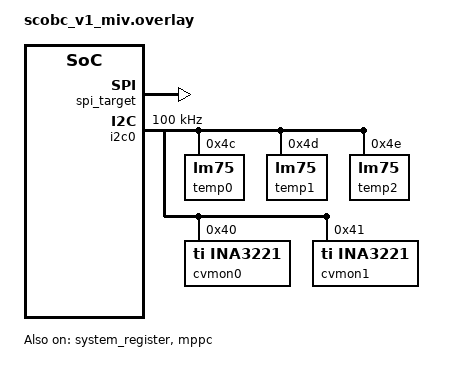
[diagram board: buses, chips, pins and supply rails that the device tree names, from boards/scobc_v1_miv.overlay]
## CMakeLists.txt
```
# Copyright (c) 2026 Space Cubics Inc.
# SPDX-License-Identifier: Apache-2.0

cmake_minimum_required(VERSION 3.20.0)

if(NOT DEFINED BOARD)
    set(BOARD scobc_v1/miv)
endif()

find_package(Zephyr REQUIRED HINTS $ENV{ZEPHYR_BASE})
project(scobc-v1-safety-processor)

add_subdirectory(drivers/i2c)

target_sources(app PRIVATE
    src/main.c
    src/system.c
    src/mppc.c
    src/sensor.c
    src/ipc.c
    )
```

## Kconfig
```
# Copyright (c) 2026 Space Cubics Inc.
# SPDX-License-Identifier: Apache-2.0

mainmenu "SC-OBC Safety Processor"

menu "SC-OBC Safety Processor Configuration"

menu "IPC(Inter-Processor Communication)"

choice SC_IPC_SPI_MODE
	prompt "SPI target mode"
	default SC_IPC_SPI_MODE_1
	help
	  Select the SPI mode used by the SC-SPI-TARGET IP.

config SC_IPC_SPI_MODE_1
	bool "Mode 1 (CPOL=0, CPHA=1)"

config SC_IPC_SPI_MODE_3
	bool "Mode 3 (CPOL=1, CPHA=1)"

endchoice

module = SC_IPC
module-str = SC IPC
source "subsys/logging/Kconfig.template.log_config"

endmenu

menu "MPPC(Main Processor Power Controller)"

module = SC_MPPC
module-str = SC MPPC
source "subsys/logging/Kconfig.template.log_config"

endmenu

endmenu

menu "Out-of-tree Drivers"
rsource "drivers/i2c/Kconfig"
endmenu

menu "Zephyr"
source "Kconfig.zephyr"
endmenu
```

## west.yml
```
manifest:

  remotes:
    - name: sc
      url-base: https://github.com/spacecubics

  projects:
    - name: zephyr
      remote: sc
      revision: v4.4-sc
      west-commands: scripts/west-commands.yml

  self:
    path: scobc-sp
```

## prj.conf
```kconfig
CONFIG_I2C=y
CONFIG_SENSOR=y
CONFIG_PICOLIBC=y
CONFIG_PICOLIBC_IO_FLOAT=y
CONFIG_LOG=y
CONFIG_BUILD_OUTPUT_HEX=y
```

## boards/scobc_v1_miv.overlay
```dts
/*
 * Copyright (c) 2026 Space Cubics Inc.
 *
 * SPDX-License-Identifier: Apache-2.0
 */

#include <zephyr/dt-bindings/i2c/i2c.h>

/ {
	soc {
		system_register: system-register@80000000 {
			compatible = "sc,system";
			reg = <0x80000000 0x1000>;
			status = "okay";
		};

		mppc: mppc@81001000 {
			compatible = "sc,mppc";
			interrupt-parent = <&plic>;
			interrupts = <2 1>;
			reg = <0x81001000 0x1000>;
			status = "okay";
		};

		spi_target: spi-target@81000000 {
			compatible = "sc,spi-target";
			interrupt-parent = <&plic>;
			interrupts = <16 1>;
			reg = <0x81000000 0x1000>;
			status = "okay";
		};

		i2c0: i2c@82000000 {
			compatible = "sc,i2c";
			interrupt-parent = <&plic>;
			interrupts = <20 1>;
			reg = <0x82000000 0x10000>;
			#address-cells = <1>;
			#size-cells = <0>;
			clock-frequency = <I2C_BITRATE_STANDARD>;
			status = "okay";

			temp0: tmp175@4c {
				compatible = "lm75";
				reg = <0x4c>;
				status = "okay";
			};

			temp1: tmp175@4d {
				compatible = "lm75";
				reg = <0x4d>;
				status = "okay";
			};

			temp2: tmp175@4e {
				compatible = "lm75";
				reg = <0x4e>;
				status = "okay";
			};

			cvmon0: ina3221@40 {
				compatible = "ti,ina3221";
				reg = <0x40>;

				/* CH1: 5V0_SYS, CH2: 5V0_VER_PS, CH3: 5V0_VER_PL */
				enable-channel = <1 1 1>;
				shunt-resistors = <33 33 10>;

				status = "okay";
			};

			cvmon1: ina3221@41 {
				compatible = "ti,ina3221";
				reg = <0x41>;

				/* CH1: 3V3_EXT, CH2: 3V3_VER, CH3: unused */
				enable-channel = <1 1 0>;
				shunt-resistors = <33 33 33>;

				status = "okay";
			};
		};
	};
};
```

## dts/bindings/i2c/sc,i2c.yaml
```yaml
# Copyright (c) 2026 Space Cubics Inc.
# SPDX-License-Identifier: Apache-2.0

description: Space Cubics I2C Master controller

compatible: "sc,i2c"

include: [i2c-controller.yaml]

properties:
  reg:
    required: true

  interrupts:
    required: true
```

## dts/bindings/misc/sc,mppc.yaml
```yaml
# Copyright (c) 2026 Space Cubics Inc.
# SPDX-License-Identifier: Apache-2.0

description: Space Cubics SC-OBC Main Processor Power Controller Register

compatible: "sc,mppc"

include: base.yaml

properties:
  reg:
    required: true

  interrupts:
    required: true
```

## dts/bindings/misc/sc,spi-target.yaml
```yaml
# Copyright (c) 2026 Space Cubics Inc.
# SPDX-License-Identifier: Apache-2.0

description: Space Cubics SC-SPI-TARGET register block

compatible: "sc,spi-target"

include: base.yaml

properties:
  reg:
    required: true

  interrupts:
    required: true
```

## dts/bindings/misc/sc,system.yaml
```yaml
# Copyright (c) 2026 Space Cubics Inc.
# SPDX-License-Identifier: Apache-2.0

description: Space Cubics SC-OBC System Register

compatible: "sc,system"

include: base.yaml

properties:
  reg:
    required: true
```

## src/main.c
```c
/*
 * Copyright (c) 2026 Space Cubics Inc.
 *
 * SPDX-License-Identifier: Apache-2.0
 */

#include <stdint.h>
#include <zephyr/sys/printk.h>

#include "system.h"
#include "mppc.h"
#include "version.h"

static void print_system_info(void)
{
	char ip_version[32];
	char grade[32];
	char revision[16];

	sc_system_get_board_grade(grade, sizeof(grade));
	sc_system_get_board_revision(revision, sizeof(revision));
	sc_system_get_ip_version(ip_version, sizeof(ip_version));

	printk("SC-OBC Safety Processor Firmware " SCOBC_SP_FW_VERSION "\n");
	printk("Board: %s %s\n", grade, revision);
	printk("IP version: %s\n", ip_version);
}

int main(void)
{
	print_system_info();

	sc_mppc_main_power_on();

	return 0;
}
```

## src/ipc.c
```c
/*
 * Copyright (c) 2026 Space Cubics Inc.
 *
 * SPDX-License-Identifier: Apache-2.0
 */

#include "ipc.h"

#include <errno.h>
#include <stdbool.h>
#include <stdint.h>
#include <string.h>

#include <zephyr/devicetree.h>
#include <zephyr/init.h>
#include <zephyr/irq.h>
#include <zephyr/kernel.h>
#include <zephyr/logging/log.h>
#include <zephyr/sys/atomic.h>
#include <zephyr/sys/sys_io.h>
#include <zephyr/sys/util.h>

#include "mppc.h"
#include "sensor.h"
#include "system.h"

LOG_MODULE_REGISTER(ipc, CONFIG_SC_IPC_LOG_LEVEL);

#define SC_IPC_NODE DT_NODELABEL(spi_target)
BUILD_ASSERT(DT_NODE_HAS_STATUS(SC_IPC_NODE, okay),
	     "spi_target node must be enabled in devicetree");
BUILD_ASSERT(DT_IRQ_HAS_CELL(SC_IPC_NODE, irq),
	     "spi_target interrupt must have irq cell");
BUILD_ASSERT(DT_IRQ_HAS_CELL(SC_IPC_NODE, priority),
	     "spi_target interrupt must have priority cell");

#define SC_IPC_API_VERSION	1U

#define SC_SPI_REG_BASE		DT_REG_ADDR(SC_IPC_NODE)
#define SC_SPI_IRQ		DT_IRQN(SC_IPC_NODE)
#define SC_SPI_IRQ_PRIORITY	DT_IRQ(SC_IPC_NODE, priority)
#define SC_SPI_IRQ_FLAGS	0

/* SC-SPI-TARGET Register List offsets. */
#define SC_SPI_REG_IP_VERSION		0x000UL
#define SC_SPI_REG_IP_CONFIGURATION	0x004UL
#define SC_SPI_REG_IP_RESET		0x010UL
#define SC_SPI_REG_INTERRUPT_STATUS	0x020UL
#define SC_SPI_REG_INTERRUPT_ENABLE	0x024UL
#define SC_SPI_REG_CONTROL		0x030UL
#define SC_SPI_REG_BUFFER_THRESHOLD	0x034UL
#define SC_SPI_REG_BUFFER_CONTROL	0x038UL
#define SC_SPI_REG_BUFFER_STATUS	0x03cUL
#define SC_SPI_REG_TX_BUFFER(n)		(0x100UL + (0x4UL * (uint32_t)(n)))
#define SC_SPI_REG_RX_BUFFER(n)		(0x200UL + (0x4UL * (uint32_t)(n)))

#define SC_SPI_INTERRUPT_FRAME_COMPLETE		BIT(0)
#define SC_SPI_INTERRUPT_FRAME_THRESHOLD	BIT(1)
#define SC_SPI_INTERRUPT_BUFFER_OVERRUN		BIT(16)
#define SC_SPI_INTERRUPT_INVALID_FRAME		BIT(17)
#define SC_SPI_INTERRUPT_USED			(SC_SPI_INTERRUPT_FRAME_COMPLETE | \
						 SC_SPI_INTERRUPT_FRAME_THRESHOLD | \
						 SC_SPI_INTERRUPT_BUFFER_OVERRUN | \
						 SC_SPI_INTERRUPT_INVALID_FRAME)

#define SC_SPI_CONTROL_IP_ENABLE		BIT(0)
#define SC_SPI_CONTROL_CPHA			BIT(8)
#define SC_SPI_CONTROL_CPOL			BIT(9)
#define SC_SPI_BUFFER_CONTROL_CPU_BUFFER_CHANGE	BIT(0)
#define SC_SPI_IP_CONFIG_MAX_FRAME_SIZE_MASK	0x3fUL
#define SC_SPI_BUFFER_STATUS_FRAME_SIZE_MASK	0x3fUL
#define SC_SPI_BUFFER_STATUS_CS_MASK		GENMASK(11, 8)
#define SC_SPI_BUFFER_STATUS_CS_SHIFT		8U

#define SC_IPC_READ_LATENCY_BYTES	2U
#define SC_IPC_INIT_PRIORITY		80


struct sc_ipc_context {
	uint8_t max_frame_size;
	uint8_t last_read_seq;
	uint16_t last_read_cmd;
	uint8_t last_read_response_len;
	uint8_t last_read_response[SC_IPC_RESPONSE_SEQ_SIZE +
				       SC_IPC_MAX_DATA_SIZE +
				       SC_IPC_DATA_CRC_SIZE];
	bool last_read_response_valid;
	bool initialized;
};

struct sc_ipc_cached_response {
	uint16_t cmd;
	uint8_t len;
	int ret;
	uint8_t payload[SC_IPC_MAX_DATA_SIZE + SC_IPC_DATA_CRC_SIZE];
};

static struct sc_ipc_context sc_ipc_ctx;

static const uint16_t sc_ipc_supported_read_commands[] = {
	SC_IPC_CMD_READ_API_VERSION,
	SC_IPC_CMD_GET_TEMP_AVERAGE,
	SC_IPC_CMD_GET_CURRENT_TOTAL,
	SC_IPC_CMD_GET_CURRENT_SYS,
	SC_IPC_CMD_GET_CURRENT_PS,
	SC_IPC_CMD_GET_CURRENT_PL,
	SC_IPC_CMD_GET_BOOT_MEMORY_SELECT,
};

static struct sc_ipc_cached_response
	sc_ipc_response_cache[2][ARRAY_SIZE(sc_ipc_supported_read_commands)];
static atomic_t sc_ipc_response_cache_active;

static void sc_spi_write(uint32_t reg, uint32_t val)
{
	sys_write32(val, SC_SPI_REG_BASE + reg);
}

static uint32_t sc_spi_read(uint32_t reg)
{
	return sys_read32(SC_SPI_REG_BASE + reg);
}

static uint8_t sc_spi_read_rx_byte(uint8_t index)
{
	return (uint8_t)(sc_spi_read(SC_SPI_REG_RX_BUFFER(index)) & 0xffU);
}

static void sc_spi_write_tx_byte(uint8_t index, uint8_t val)
{
	sc_spi_write(SC_SPI_REG_TX_BUFFER(index), val);
}

static uint8_t sc_spi_buffer_status_frame_size(uint32_t status)
{
	return (uint8_t)(status & SC_SPI_BUFFER_STATUS_FRAME_SIZE_MASK);
}

static uint8_t sc_spi_buffer_status_cs(uint32_t status)
{
	return (uint8_t)((status & SC_SPI_BUFFER_STATUS_CS_MASK) >>
			       SC_SPI_BUFFER_STATUS_CS_SHIFT);
}

static uint8_t crc8_sae_j1850(const uint8_t *buf, size_t len)
{
	uint8_t crc = 0xffU;
	size_t i;
	int bit;

	for (i = 0; i < len; i++) {
		crc ^= buf[i];
		for (bit = 0; bit < 8; bit++) {
			if ((crc & 0x80U) != 0U) {
				crc = (uint8_t)((crc << 1) ^ 0x1dU);
			} else {
				crc = (uint8_t)(crc << 1);
			}
		}
	}

	/* The current command spec defines poly/init, but not xorout.
	 * Use xorout=0x00 until a test vector says otherwise.
	 */
	return crc;
}

static uint16_t crc16_ccitt_false(const uint8_t *buf, size_t len)
{
	uint16_t crc = 0xffffU;
	size_t i;
	int bit;

	for (i = 0; i < len; i++) {
		crc ^= (uint16_t)buf[i] << 8;
		for (bit = 0; bit < 8; bit++) {
			if ((crc & 0x8000U) != 0U) {
				crc = (uint16_t)((crc << 1) ^ 0x1021U);
			} else {
				crc = (uint16_t)(crc << 1);
			}
		}
	}

	return crc;
}

static void put_be16(uint8_t *buf, uint16_t val)
{
	buf[0] = (uint8_t)(val >> 8);
	buf[1] = (uint8_t)val;
}

static void put_be32(uint8_t *buf, uint32_t val)
{
	buf[0] = (uint8_t)(val >> 24);
	buf[1] = (uint8_t)(val >> 16);
	buf[2] = (uint8_t)(val >> 8);
	buf[3] = (uint8_t)val;
}

static uint16_t get_be16(const uint8_t *buf)
{
	return ((uint16_t)buf[0] << 8) | (uint16_t)buf[1];
}

static int64_t div_round_closest_i64(int64_t dividend, int64_t divisor)
{
	if (dividend >= 0) {
		return (dividend + divisor / 2) / divisor;
	}

	return (dividend - divisor / 2) / divisor;
}

static uint16_t encode_temperature_micro_q025c(int64_t micro_degc)
{
	int64_t quarter_degc;

	quarter_degc = div_round_closest_i64(micro_degc, 250000LL);
	if (quarter_degc > INT16_MAX) {
		quarter_degc = INT16_MAX;
	} else if (quarter_degc < INT16_MIN) {
		quarter_degc = INT16_MIN;
	}

	return (uint16_t)(int16_t)quarter_degc;
}

static uint16_t encode_current_ma(const struct sensor_value *current)
{
	int64_t milliamp;

	milliamp = div_round_closest_i64(sensor_value_to_micro(current), 1000LL);
	if (milliamp > UINT16_MAX) {
		milliamp = UINT16_MAX;
	} else if (milliamp < 0) {
		milliamp = 0;
	}

	return (uint16_t)milliamp;
}

static int read_temperature(size_t index, uint16_t *val)
{
	struct sc_lm75_sensor_data sensor;
	int ret;

	ret = sc_lm75_get_sensor(index, &sensor);
	if (ret < 0 || sensor.ret < 0) {
		return ret < 0 ? ret : sensor.ret;
	}

	*val = encode_temperature_micro_q025c(sensor_value_to_micro(&sensor.temp));

	return 0;
}

static int read_cvmon_current_ma(size_t channel, uint16_t *val)
{
	struct sc_ina3221_sensor_data sensor;
	int ret;

	ret = sc_ina3221_get_sensor(0, &sensor);
	if (ret < 0 || sensor.ret < 0) {
		return ret < 0 ? ret : sensor.ret;
	}

	if (channel >= ARRAY_SIZE(sensor.channel) || !sensor.channel[channel].enabled) {
		return -ENOENT;
	}

	if (sensor.channel[channel].ret < 0) {
		return sensor.channel[channel].ret;
	}

	*val = encode_current_ma(&sensor.channel[channel].current);

	return 0;
}

static int read_current_total_ma(uint16_t *val)
{
	uint32_t sum = 0;
	uint16_t current;
	size_t valid_count = 0;
	size_t ch;
	int ret;

	for (ch = 0; ch < 3; ch++) {
		ret = read_cvmon_current_ma(ch, &current);
		if (ret < 0) {
			continue;
		}
		sum += current;
		valid_count++;
	}

	if (valid_count == 0) {
		return -EAGAIN;
	}

	if (sum > UINT16_MAX) {
		sum = UINT16_MAX;
	}

	*val = (uint16_t)sum;

	return 0;
}

static int build_read_response_data(uint16_t cmd, uint8_t *data, size_t *len)
{
	uint16_t v16;
	int ret = 0;

	switch (cmd) {
	case SC_IPC_CMD_READ_API_VERSION:
		put_be32(data, SC_IPC_API_VERSION);
		break;

	case SC_IPC_CMD_GET_TEMP_AVERAGE:
		/*
		 * Use Temperature Sensor 3 as the average temperature
		 * in the current release.
		 * This may be changed to some calculated value in the future.
		 */
		ret = read_temperature(2, &v16);
		if (ret == 0) {
			put_be16(data, v16);
		}
		break;

	case SC_IPC_CMD_GET_CURRENT_TOTAL:
		ret = read_current_total_ma(&v16);
		if (ret == 0) {
			put_be16(data, v16);
		}
		break;

	case SC_IPC_CMD_GET_CURRENT_SYS:
		ret = read_cvmon_current_ma(0, &v16);
		if (ret == 0) {
			put_be16(data, v16);
		}
		break;

	case SC_IPC_CMD_GET_CURRENT_PS:
		ret = read_cvmon_current_ma(1, &v16);
		if (ret == 0) {
			put_be16(data, v16);
		}
		break;

	case SC_IPC_CMD_GET_CURRENT_PL:
		ret = read_cvmon_current_ma(2, &v16);
		if (ret == 0) {
			put_be16(data, v16);
		}
		break;

	case SC_IPC_CMD_GET_BOOT_MEMORY_SELECT:
		v16 = (uint16_t)sc_system_get_boot_memory_port();
		put_be16(data, v16);
		break;

	default:
		return -ENOTSUP;
	}

	*len = sc_ipc_cmd_data_size(cmd);

	return ret;
}

static void build_error_read_response_payload(uint16_t cmd, uint8_t *payload,
					      uint8_t *payload_len)
{
	uint8_t data[SC_IPC_MAX_DATA_SIZE];
	size_t len;
	int cmd_len;
	uint16_t crc;

	cmd_len = sc_ipc_cmd_data_size(cmd);
	if (cmd_len < 0 || cmd_len > SC_IPC_MAX_DATA_SIZE) {
		len = 2;
	} else {
		len = (size_t)cmd_len;
	}

	memset(data, 0xff, len);
	memcpy(payload, data, len);

	crc = crc16_ccitt_false(data, len);
	payload[len] = (uint8_t)(crc >> 8);
	payload[len + 1U] = (uint8_t)crc;
	*payload_len = (uint8_t)(len + SC_IPC_DATA_CRC_SIZE);
}

static int build_read_response_payload(uint16_t cmd, uint8_t *payload,
				       uint8_t *payload_len)
{
	uint8_t data[SC_IPC_MAX_DATA_SIZE] = {0};
	size_t len = 0;
	uint16_t crc;
	int ret;

	ret = build_read_response_data(cmd, data, &len);
	if (ret < 0 || len > SC_IPC_MAX_DATA_SIZE) {
		build_error_read_response_payload(cmd, payload, payload_len);
		return ret < 0 ? ret : -EIO;
	}

	memcpy(payload, data, len);
	crc = crc16_ccitt_false(data, len);
	payload[len] = (uint8_t)(crc >> 8);
	payload[len + 1U] = (uint8_t)crc;
	*payload_len = (uint8_t)(len + SC_IPC_DATA_CRC_SIZE);

	return 0;
}

static int write_read_response_payload(const uint8_t *payload, uint8_t payload_len)
{
	uint8_t off = (uint8_t)(SC_IPC_COMMAND_FIELD_SIZE +
				 SC_IPC_READ_LATENCY_BYTES);
	uint16_t end = (uint16_t)off + payload_len;
	int i;

	if (end > sc_ipc_ctx.max_frame_size) {
		LOG_DBG("read response does not fit: off=%u payload_len=%u max_frame=%u",
			off, payload_len, sc_ipc_ctx.max_frame_size);
		return -EMSGSIZE;
	}

	for (i = 0; i < payload_len; i++) {
		sc_spi_write_tx_byte((uint8_t)(off + i), payload[i]);
	}

	return 0;
}

static int compose_and_write_read_response(uint8_t seq, uint16_t cmd,
					   const uint8_t *payload,
					   uint8_t payload_len)
{
	uint8_t response[SC_IPC_RESPONSE_SEQ_SIZE + SC_IPC_MAX_DATA_SIZE +
			 SC_IPC_DATA_CRC_SIZE];
	uint8_t response_len;
	int ret;

	if (payload_len > (sizeof(response) - SC_IPC_RESPONSE_SEQ_SIZE)) {
		return -EMSGSIZE;
	}

	response[0] = seq;
	memcpy(&response[SC_IPC_RESPONSE_SEQ_SIZE], payload, payload_len);
	response_len = (uint8_t)(SC_IPC_RESPONSE_SEQ_SIZE + payload_len);

	ret = write_read_response_payload(response, response_len);
	if (ret < 0) {
		return ret;
	}

	sc_ipc_ctx.last_read_seq = seq;
	sc_ipc_ctx.last_read_cmd = cmd;
	sc_ipc_ctx.last_read_response_len = response_len;
	memcpy(sc_ipc_ctx.last_read_response, response, response_len);
	sc_ipc_ctx.last_read_response_valid = true;

	return 0;
}

static const struct sc_ipc_cached_response *find_cached_response(uint16_t cmd)
{
	const struct sc_ipc_cached_response *cache;
	size_t i;

	cache = sc_ipc_response_cache[atomic_get(&sc_ipc_response_cache_active)];
	for (i = 0; i < ARRAY_SIZE(sc_ipc_supported_read_commands); i++) {
		if (cache[i].cmd == cmd) {
			return &cache[i];
		}
	}

	return NULL;
}

static void update_response_cache_once(void)
{
	struct sc_ipc_cached_response *cache;
	uint8_t inactive;
	size_t i;

	inactive = (uint8_t)(atomic_get(&sc_ipc_response_cache_active) ^ 1);
	cache = sc_ipc_response_cache[inactive];

	for (i = 0; i < ARRAY_SIZE(sc_ipc_supported_read_commands); i++) {
		cache[i].cmd = sc_ipc_supported_read_commands[i];
		cache[i].ret = build_read_response_payload(cache[i].cmd,
							cache[i].payload,
							&cache[i].len);
	}

	atomic_set(&sc_ipc_response_cache_active, inactive);
}

void sc_ipc_update_response_cache(void)
{
	update_response_cache_once();
}

static void update_boot_memory_response_cache(void)
{
	struct sc_ipc_cached_response *cache;
	size_t bank;
	size_t i;

	for (bank = 0; bank < ARRAY_SIZE(sc_ipc_response_cache); bank++) {
		cache = sc_ipc_response_cache[bank];

		for (i = 0; i < ARRAY_SIZE(sc_ipc_supported_read_commands); i++) {
			if (cache[i].cmd != SC_IPC_CMD_GET_BOOT_MEMORY_SELECT) {
				continue;
			}

			cache[i].ret = build_read_response_payload(cache[i].cmd,
								cache[i].payload,
								&cache[i].len);
		}
	}
}

static bool parse_command_header(uint8_t header[SC_IPC_COMMAND_FIELD_SIZE],
				 uint8_t *seq, uint16_t *cmd)
{
	uint8_t expected_crc;
	uint8_t i;

	for (i = 0; i < SC_IPC_COMMAND_FIELD_SIZE; i++) {
		header[i] = sc_spi_read_rx_byte(i);
	}

	expected_crc = crc8_sae_j1850(header, SC_IPC_COMMAND_CRC_INPUT_SIZE);
	if (expected_crc != sc_ipc_header_crc(header)) {
		LOG_DBG("bad command CRC: seq=0x%02x cmd=0x%04x got=0x%02x exp=0x%02x",
			sc_ipc_header_seq(header), sc_ipc_header_cmd(header),
			sc_ipc_header_crc(header), expected_crc);
		return false;
	}

	*seq = sc_ipc_header_seq(header);
	*cmd = sc_ipc_header_cmd(header);

	return true;
}

static void prepare_read_response(uint8_t seq, uint16_t cmd)
{
	const struct sc_ipc_cached_response *cached;
	uint8_t payload[SC_IPC_MAX_DATA_SIZE + SC_IPC_DATA_CRC_SIZE];
	uint8_t payload_len;
	int ret;

	/*
	 * Treat the same seq/cmd pair as a retransmission.  Re-send the exact
	 * previous response and do not refresh its contents.  Checking cmd as well
	 * avoids replaying a stale response after the requester has rebooted and
	 * restarted its sequence number from 1.
	 */
	if (sc_ipc_ctx.last_read_response_valid &&
	    seq == sc_ipc_ctx.last_read_seq &&
	    cmd == sc_ipc_ctx.last_read_cmd) {
		ret = write_read_response_payload(sc_ipc_ctx.last_read_response,
						  sc_ipc_ctx.last_read_response_len);
		if (ret < 0) {
			LOG_DBG("failed to re-send read response: cmd=0x%04x ret=%d",
				cmd, ret);
		}
		return;
	}

	cached = find_cached_response(cmd);
	if (cached == NULL) {
		build_error_read_response_payload(cmd, payload, &payload_len);
		ret = compose_and_write_read_response(seq, cmd, payload, payload_len);
		if (ret < 0) {
			LOG_DBG("failed to send unsupported command response: cmd=0x%04x ret=%d",
				cmd, ret);
		}
		return;
	}

	ret = compose_and_write_read_response(seq, cmd, cached->payload, cached->len);
	if (ret < 0) {
		LOG_DBG("failed to send read response: cmd=0x%04x ret=%d", cmd, ret);
		return;
	}

	if (cached->ret < 0) {
		LOG_DBG("read response uses error payload: cmd=0x%04x ret=%d",
			cmd, cached->ret);
	}
}

static void handle_frame_threshold(void)
{
	uint32_t status;
	uint8_t header[SC_IPC_COMMAND_FIELD_SIZE];
	uint8_t seq;
	uint16_t cmd;

	status = sc_spi_read(SC_SPI_REG_BUFFER_STATUS);

	LOG_DBG("frame threshold: cs=%u frame_size=%u buf_status=0x%08x",
		sc_spi_buffer_status_cs(status),
		sc_spi_buffer_status_frame_size(status), status);

	if (!parse_command_header(header, &seq, &cmd)) {
		return;
	}

	if (sc_ipc_cmd_is_write(cmd)) {
		/* Write commands need the whole frame, including data CRC. */
		return;
	}

	if (!sc_ipc_cmd_is_read(cmd)) {
		return;
	}

	prepare_read_response(seq, cmd);
}

static void handle_set_boot_memory_select(const uint8_t *data)
{
	uint16_t port = get_be16(data);
	int ret;

	ret = sc_system_set_boot_memory_port(port);
	if (ret < 0) {
		return;
	}

	update_boot_memory_response_cache();
}

static void handle_write_frame(uint16_t cmd, uint8_t frame_size)
{
	uint8_t data[SC_IPC_MAX_DATA_SIZE] = {0};
	uint16_t got_crc;
	uint16_t expected_crc;
	int data_size;
	uint8_t i;

	data_size = sc_ipc_cmd_data_size(cmd);
	if (data_size < 0 || data_size > SC_IPC_MAX_DATA_SIZE) {
		return;
	}

	if (frame_size < (SC_IPC_COMMAND_FIELD_SIZE + data_size +
			 SC_IPC_DATA_CRC_SIZE)) {
		return;
	}

	for (i = 0; i < data_size; i++) {
		data[i] = sc_spi_read_rx_byte((uint8_t)(SC_IPC_COMMAND_FIELD_SIZE + i));
	}

	got_crc = ((uint16_t)sc_spi_read_rx_byte((uint8_t)(SC_IPC_COMMAND_FIELD_SIZE + data_size)) << 8) |
		  sc_spi_read_rx_byte((uint8_t)(SC_IPC_COMMAND_FIELD_SIZE + data_size + 1));
	expected_crc = crc16_ccitt_false(data, (size_t)data_size);
	if (got_crc != expected_crc) {
		LOG_DBG("bad data CRC: cmd=0x%04x got=0x%04x exp=0x%04x",
			cmd, got_crc, expected_crc);
		return;
	}

	switch (cmd) {
	case SC_IPC_CMD_SET_BOOT_MEMORY_SELECT:
		handle_set_boot_memory_select(data);
		break;
	default:
		break;
	}
}

static void handle_frame_complete(void)
{
	uint32_t status;
	uint8_t frame_size;
	uint8_t header[SC_IPC_COMMAND_FIELD_SIZE];
	uint8_t seq;
	uint16_t cmd;

	status = sc_spi_read(SC_SPI_REG_BUFFER_STATUS);
	frame_size = sc_spi_buffer_status_frame_size(status);

	LOG_DBG("frame complete: cs=%u frame_size=%u buf_status=0x%08x",
		sc_spi_buffer_status_cs(status), frame_size, status);

	if (frame_size >= SC_IPC_COMMAND_FIELD_SIZE &&
	    parse_command_header(header, &seq, &cmd) && sc_ipc_cmd_is_write(cmd)) {
		handle_write_frame(cmd, frame_size);
	}

	/*
	 * CSn negation makes the SPI side switch to the next buffer automatically.
	 * Keep the CPU side on the completed buffer while handling the frame, then
	 * toggle it once so the next threshold interrupt sees the active SPI buffer.
	 * TX buffer clearing is left to the SC-SPI-TARGET IP.
	 */
	sc_spi_write(SC_SPI_REG_BUFFER_CONTROL,
		     SC_SPI_BUFFER_CONTROL_CPU_BUFFER_CHANGE);
}

static void sc_ipc_irq_handler(const void *arg)
{
	uint32_t status;
	uint32_t handled;

	ARG_UNUSED(arg);

	status = sc_spi_read(SC_SPI_REG_INTERRUPT_STATUS);
	handled = status & SC_SPI_INTERRUPT_USED;

	if (handled == 0U) {
		return;
	}

	LOG_DBG("irq status=0x%08x handled=0x%08x", status, handled);

	/*
	 * W/C register: clear the latched status bits from this snapshot before
	 * processing. This avoids clearing a new event that arrives while this
	 * handler is running.
	 */
	sc_spi_write(SC_SPI_REG_INTERRUPT_STATUS, handled);

	if ((status & SC_SPI_INTERRUPT_INVALID_FRAME) != 0U) {
		LOG_DBG("invalid frame interrupt");
	}

	if ((status & SC_SPI_INTERRUPT_BUFFER_OVERRUN) != 0U) {
		LOG_DBG("buffer overrun interrupt");
	}

	if ((status & SC_SPI_INTERRUPT_FRAME_THRESHOLD) != 0U) {
		handle_frame_threshold();
	}

	if ((status & SC_SPI_INTERRUPT_FRAME_COMPLETE) != 0U) {
		handle_frame_complete();
	}
}

static int sc_ipc_init(void)
{
	uint32_t ip_config;
	uint32_t max_frame_size;
	uint32_t min_read_frame_size;
	uint32_t control = 0;

	if (sc_ipc_ctx.initialized) {
		return 0;
	}

	/* Reset value is asserted, so always release software reset explicitly. */
	sc_spi_write(SC_SPI_REG_IP_RESET, 0);
	k_busy_wait(1);

	ip_config = sc_spi_read(SC_SPI_REG_IP_CONFIGURATION);
	max_frame_size = ip_config & SC_SPI_IP_CONFIG_MAX_FRAME_SIZE_MASK;
	if (max_frame_size == 0U) {
		LOG_ERR("SC-SPI-TARGET reports an invalid max frame size: config=0x%08x",
			ip_config);
		return -EINVAL;
	}
	sc_ipc_ctx.max_frame_size = (uint8_t)max_frame_size;

	min_read_frame_size = SC_IPC_COMMAND_FIELD_SIZE +
		SC_IPC_READ_LATENCY_BYTES +
		SC_IPC_RESPONSE_SEQ_SIZE + 2U +
		SC_IPC_DATA_CRC_SIZE;
	if (min_read_frame_size > sc_ipc_ctx.max_frame_size) {
		LOG_ERR("IPC minimum read frame is %u bytes, but target max frame size is %u",
			min_read_frame_size, sc_ipc_ctx.max_frame_size);
		return -EMSGSIZE;
	}

	/* Populate the response cache before the first SPI transaction. */
	update_response_cache_once();

	/* Protected Immediate Read needs an interrupt once Seq/CMD/CRC is present. */
	sc_spi_write(SC_SPI_REG_BUFFER_THRESHOLD, SC_IPC_COMMAND_FIELD_SIZE);
	sc_spi_write(SC_SPI_REG_INTERRUPT_STATUS, SC_SPI_INTERRUPT_USED);
	sc_spi_write(SC_SPI_REG_INTERRUPT_ENABLE, SC_SPI_INTERRUPT_USED);

#if defined(CONFIG_SC_IPC_SPI_MODE_1)
	control |= SC_SPI_CONTROL_CPHA;
#elif defined(CONFIG_SC_IPC_SPI_MODE_3)
	control |= SC_SPI_CONTROL_CPOL | SC_SPI_CONTROL_CPHA;
#else
#error "Unsupported SC IPC SPI mode"
#endif

	control |= SC_SPI_CONTROL_IP_ENABLE;
	sc_spi_write(SC_SPI_REG_CONTROL, control);

	IRQ_CONNECT(SC_SPI_IRQ, SC_SPI_IRQ_PRIORITY, sc_ipc_irq_handler,
		    NULL, SC_SPI_IRQ_FLAGS);
	irq_enable(SC_SPI_IRQ);

	sc_ipc_ctx.initialized = true;

	LOG_DBG("IPC initialized: base=0x%08lx irq=%u mode=%u latency=%u",
		(unsigned long)SC_SPI_REG_BASE, (unsigned int)SC_SPI_IRQ,
		IS_ENABLED(CONFIG_SC_IPC_SPI_MODE_3) ? 3U : 1U,
		SC_IPC_READ_LATENCY_BYTES);
	LOG_DBG("SC-SPI-TARGET config=0x%08x max_frame_size=%u",
		ip_config, sc_ipc_ctx.max_frame_size);

	return 0;
}

static int sc_ipc_sys_init(void)
{
	return sc_ipc_init();
}

SYS_INIT(sc_ipc_sys_init, APPLICATION, SC_IPC_INIT_PRIORITY);
```

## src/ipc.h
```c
/*
 * Copyright (c) 2026 Space Cubics Inc.
 *
 * SPDX-License-Identifier: Apache-2.0
 */

#ifndef SC_IPC_H_
#define SC_IPC_H_

#include <stdbool.h>
#include <stdint.h>

void sc_ipc_update_response_cache(void);

#define SC_IPC_COMMAND_FIELD_SIZE 4U
#define SC_IPC_DATA_CRC_SIZE      2U
#define SC_IPC_RESPONSE_SEQ_SIZE  1U
#define SC_IPC_MAX_DATA_SIZE      8U

#define SC_IPC_HEADER_SEQ_NUM 0U
#define SC_IPC_HEADER_CMD0    1U
#define SC_IPC_HEADER_CMD1    2U
#define SC_IPC_HEADER_CRC     3U
#define SC_IPC_COMMAND_CRC_INPUT_SIZE \
	(SC_IPC_COMMAND_FIELD_SIZE - 1U)

#define SC_IPC_CMD_CATEGORY_SHIFT   14U
#define SC_IPC_CMD_NUMBER_SHIFT     8U
#define SC_IPC_CMD_SUBCOMMAND_SHIFT 5U
#define SC_IPC_CMD_TYPE_SHIFT       2U

#define SC_IPC_CMD_CATEGORY_MASK   0x3U
#define SC_IPC_CMD_NUMBER_MASK     0x3fU
#define SC_IPC_CMD_SUBCOMMAND_MASK 0x7U
#define SC_IPC_CMD_TYPE_MASK       0x7U
#define SC_IPC_CMD_SIZE_MASK       0x3U

#define SC_IPC_CMD(category, number, subcommand, type, data_size) \
	((uint16_t)((((category) & SC_IPC_CMD_CATEGORY_MASK) << SC_IPC_CMD_CATEGORY_SHIFT) | \
		    (((number) & SC_IPC_CMD_NUMBER_MASK) << SC_IPC_CMD_NUMBER_SHIFT) | \
		    (((subcommand) & SC_IPC_CMD_SUBCOMMAND_MASK) << SC_IPC_CMD_SUBCOMMAND_SHIFT) | \
		    (((type) & SC_IPC_CMD_TYPE_MASK) << SC_IPC_CMD_TYPE_SHIFT) | \
		    ((data_size) & SC_IPC_CMD_SIZE_MASK)))

enum sc_ipc_cmd_category {
	SC_IPC_CMD_CATEGORY_SYSTEM = 0U,
	SC_IPC_CMD_CATEGORY_BOARD_MANAGEMENT = 1U,
	SC_IPC_CMD_CATEGORY_MAIN_PROCESSOR_CONTROL = 2U,
};

enum sc_ipc_cmd_type {
	SC_IPC_CMD_TYPE_PROTECTED_IMMEDIATE_READ = 1U,
	SC_IPC_CMD_TYPE_PROTECTED_IMMEDIATE_WRITE = 2U,
};

enum sc_ipc_cmd_data_size_code {
	SC_IPC_CMD_DATA_SIZE_0 = 0U,
	SC_IPC_CMD_DATA_SIZE_2 = 1U,
	SC_IPC_CMD_DATA_SIZE_4 = 2U,
	SC_IPC_CMD_DATA_SIZE_8 = 3U,
};

static inline int sc_ipc_cmd_data_size(uint16_t cmd)
{
	switch (cmd & SC_IPC_CMD_SIZE_MASK) {
	case SC_IPC_CMD_DATA_SIZE_0:
		return 0;
	case SC_IPC_CMD_DATA_SIZE_2:
		return 2;
	case SC_IPC_CMD_DATA_SIZE_4:
		return 4;
	case SC_IPC_CMD_DATA_SIZE_8:
		return 8;
	default:
		return -1;
	}
}

static inline bool sc_ipc_cmd_is_read(uint16_t cmd)
{
	return ((cmd >> SC_IPC_CMD_TYPE_SHIFT) & SC_IPC_CMD_TYPE_MASK) ==
	       SC_IPC_CMD_TYPE_PROTECTED_IMMEDIATE_READ;
}

static inline bool sc_ipc_cmd_is_write(uint16_t cmd)
{
	return ((cmd >> SC_IPC_CMD_TYPE_SHIFT) & SC_IPC_CMD_TYPE_MASK) ==
	       SC_IPC_CMD_TYPE_PROTECTED_IMMEDIATE_WRITE;
}

static inline uint8_t sc_ipc_header_seq(
	const uint8_t header[SC_IPC_COMMAND_FIELD_SIZE])
{
	return header[SC_IPC_HEADER_SEQ_NUM];
}

static inline uint16_t sc_ipc_header_cmd(
	const uint8_t header[SC_IPC_COMMAND_FIELD_SIZE])
{
	return ((uint16_t)header[SC_IPC_HEADER_CMD0] << 8) |
	       (uint16_t)header[SC_IPC_HEADER_CMD1];
}

static inline uint8_t sc_ipc_header_crc(
	const uint8_t header[SC_IPC_COMMAND_FIELD_SIZE])
{
	return header[SC_IPC_HEADER_CRC];
}

#define SC_IPC_CMD_READ_API_VERSION \
	SC_IPC_CMD(SC_IPC_CMD_CATEGORY_SYSTEM, 0x01U, 0U, \
		       SC_IPC_CMD_TYPE_PROTECTED_IMMEDIATE_READ, \
		       SC_IPC_CMD_DATA_SIZE_4)

#define SC_IPC_CMD_GET_TEMP_AVERAGE \
	SC_IPC_CMD(SC_IPC_CMD_CATEGORY_BOARD_MANAGEMENT, 0x01U, 0U, \
		       SC_IPC_CMD_TYPE_PROTECTED_IMMEDIATE_READ, \
		       SC_IPC_CMD_DATA_SIZE_2)

#define SC_IPC_CMD_GET_CURRENT_TOTAL \
	SC_IPC_CMD(SC_IPC_CMD_CATEGORY_BOARD_MANAGEMENT, 0x02U, 0U, \
		       SC_IPC_CMD_TYPE_PROTECTED_IMMEDIATE_READ, \
		       SC_IPC_CMD_DATA_SIZE_2)
#define SC_IPC_CMD_GET_CURRENT_SYS \
	SC_IPC_CMD(SC_IPC_CMD_CATEGORY_BOARD_MANAGEMENT, 0x02U, 1U, \
		       SC_IPC_CMD_TYPE_PROTECTED_IMMEDIATE_READ, \
		       SC_IPC_CMD_DATA_SIZE_2)
#define SC_IPC_CMD_GET_CURRENT_PS \
	SC_IPC_CMD(SC_IPC_CMD_CATEGORY_BOARD_MANAGEMENT, 0x02U, 2U, \
		       SC_IPC_CMD_TYPE_PROTECTED_IMMEDIATE_READ, \
		       SC_IPC_CMD_DATA_SIZE_2)
#define SC_IPC_CMD_GET_CURRENT_PL \
	SC_IPC_CMD(SC_IPC_CMD_CATEGORY_BOARD_MANAGEMENT, 0x02U, 3U, \
		       SC_IPC_CMD_TYPE_PROTECTED_IMMEDIATE_READ, \
		       SC_IPC_CMD_DATA_SIZE_2)

#define SC_IPC_CMD_SET_BOOT_MEMORY_SELECT \
	SC_IPC_CMD(SC_IPC_CMD_CATEGORY_MAIN_PROCESSOR_CONTROL, 0x01U, 0U, \
		       SC_IPC_CMD_TYPE_PROTECTED_IMMEDIATE_WRITE, \
		       SC_IPC_CMD_DATA_SIZE_2)
#define SC_IPC_CMD_GET_BOOT_MEMORY_SELECT \
	SC_IPC_CMD(SC_IPC_CMD_CATEGORY_MAIN_PROCESSOR_CONTROL, 0x01U, 0U, \
		       SC_IPC_CMD_TYPE_PROTECTED_IMMEDIATE_READ, \
		       SC_IPC_CMD_DATA_SIZE_2)

#endif /* SC_IPC_H_ */
```

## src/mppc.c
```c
/*
 * Copyright (c) 2026 Space Cubics Inc.
 *
 * SPDX-License-Identifier: Apache-2.0
 */

#include "mppc.h"

#include <errno.h>
#include <stddef.h>

#include <zephyr/devicetree.h>
#include <zephyr/init.h>
#include <zephyr/irq.h>
#include <zephyr/kernel.h>
#include <zephyr/logging/log.h>
#include <zephyr/sys/atomic.h>
#include <zephyr/sys/sys_io.h>
#include <zephyr/sys/util.h>

LOG_MODULE_REGISTER(sc_mppc, CONFIG_SC_MPPC_LOG_LEVEL);

#define SC_MPPC_NODE DT_NODELABEL(mppc)
BUILD_ASSERT(DT_NODE_HAS_STATUS(SC_MPPC_NODE, okay),
	     "mppc node must be enabled in devicetree");
BUILD_ASSERT(DT_IRQ_HAS_CELL(SC_MPPC_NODE, irq),
	     "mppc interrupt must have irq cell");
BUILD_ASSERT(DT_IRQ_HAS_CELL(SC_MPPC_NODE, priority),
	     "mppc interrupt must have priority cell");

#define SC_MPPC_REG_BASE		DT_REG_ADDR(SC_MPPC_NODE)
#define SC_MPPC_IRQ			DT_IRQN(SC_MPPC_NODE)
#define SC_MPPC_IRQ_PRIORITY		DT_IRQ(SC_MPPC_NODE, priority)
#define SC_MPPC_IRQ_FLAGS		0

#define SC_MPPC_WORKQ_STACK_SIZE	1024
#define SC_MPPC_WORKQ_PRIORITY		K_PRIO_PREEMPT(1)
#define SC_MPPC_RESET_ASSERT_DELAY	K_MSEC(100)

#define SC_MPPC_REG_IP_VERSION				0x00UL
#define SC_MPPC_REG_INTERRUPT_STATUS			0x10UL
#define SC_MPPC_REG_INTERRUPT_ENABLE			0x14UL
#define SC_MPPC_REG_POWER_STATUS			0x20UL
#define SC_MPPC_REG_MAIN_PROCESSOR_RESET		0x24UL
#define SC_MPPC_REG_POWER_CYCLE_REQUEST			0x28UL
#define SC_MPPC_REG_PMC_LPD_POWER_CONTROL_STATUS	0x40UL
#define SC_MPPC_REG_FPD_POWER_CONTROL_STATUS		0x44UL
#define SC_MPPC_REG_SPD_POWER_CONTROL_STATUS		0x48UL
#define SC_MPPC_REG_PL_POWER_CONTROL_STATUS		0x4cUL
#define SC_MPPC_REG_GTYP_POWER_CONTROL_STATUS		0x50UL

#define SC_MPPC_INTERRUPT_STATUS_VDD_OUT_ERROR		BIT(0)
#define SC_MPPC_INTERRUPT_STATUS_PMC_LPD_ERROR		BIT(1)
#define SC_MPPC_INTERRUPT_STATUS_PMC_MIO_ERROR		BIT(2)
#define SC_MPPC_INTERRUPT_STATUS_FPD_ERROR		BIT(3)
#define SC_MPPC_INTERRUPT_STATUS_SPD_ERROR		BIT(4)
#define SC_MPPC_INTERRUPT_STATUS_PL_ERROR		BIT(5)
#define SC_MPPC_INTERRUPT_STATUS_GTYP_ERROR		BIT(6)
#define SC_MPPC_INTERRUPT_STATUS_POWER_CYCLE_REQUEST	BIT(16)
#define SC_MPPC_INTERRUPT_ENABLE_VDD_OUT		BIT(0)
#define SC_MPPC_INTERRUPT_ENABLE_PMC_LPD		BIT(1)
#define SC_MPPC_INTERRUPT_ENABLE_PMC_MIO		BIT(2)
#define SC_MPPC_INTERRUPT_ENABLE_FPD			BIT(3)
#define SC_MPPC_INTERRUPT_ENABLE_SPD			BIT(4)
#define SC_MPPC_INTERRUPT_ENABLE_PL			BIT(5)
#define SC_MPPC_INTERRUPT_ENABLE_GTYP			BIT(6)
#define SC_MPPC_INTERRUPT_ENABLE_POWER_CYCLE_REQUEST	BIT(16)
#define SC_MPPC_INTERRUPT_ENABLE_USED			SC_MPPC_INTERRUPT_ENABLE_POWER_CYCLE_REQUEST

#define SC_MPPC_WRITE_KEY		0x5a5a0000UL
#define SC_MPPC_RESET_RELEASE_VALUE	(SC_MPPC_WRITE_KEY | 0x0UL)
#define SC_MPPC_RESET_ASSERT_VALUE	(SC_MPPC_WRITE_KEY | 0x1UL)

#define SC_MPPC_POWER_CYCLE_REQUEST_MASK	BIT(0)
#define SC_MPPC_POWER_CYCLE_REQUEST_ASSERT	0x1UL

#define SC_MPPC_PMC_LPD_POWER_CONTROL_ENABLE	BIT(0)
#define SC_MPPC_PMC_MIO_POWER_CONTROL_ENABLE	BIT(1)
#define SC_MPPC_FPD_POWER_CONTROL_ENABLE	BIT(0)
#define SC_MPPC_SPD_POWER_CONTROL_ENABLE	BIT(0)
#define SC_MPPC_PL_POWER_CONTROL_ENABLE		BIT(0)
#define SC_MPPC_GTYP_POWER_CONTROL_ENABLE	BIT(0)

struct sc_mppc_power_control {
	uint32_t reg;
	uint32_t enable_mask;
};

static const struct sc_mppc_power_control power_on_sequence[] = {
	{
		.reg = SC_MPPC_REG_PMC_LPD_POWER_CONTROL_STATUS,
		.enable_mask = SC_MPPC_PMC_LPD_POWER_CONTROL_ENABLE |
			       SC_MPPC_PMC_MIO_POWER_CONTROL_ENABLE,
	},
	{
		.reg = SC_MPPC_REG_FPD_POWER_CONTROL_STATUS,
		.enable_mask = SC_MPPC_FPD_POWER_CONTROL_ENABLE,
	},
	{
		.reg = SC_MPPC_REG_SPD_POWER_CONTROL_STATUS,
		.enable_mask = SC_MPPC_SPD_POWER_CONTROL_ENABLE,
	},
	{
		.reg = SC_MPPC_REG_PL_POWER_CONTROL_STATUS,
		.enable_mask = SC_MPPC_PL_POWER_CONTROL_ENABLE,
	},
	{
		.reg = SC_MPPC_REG_GTYP_POWER_CONTROL_STATUS,
		.enable_mask = SC_MPPC_GTYP_POWER_CONTROL_ENABLE,
	},
};

static const struct sc_mppc_power_control power_off_sequence[] = {
	{
		.reg = SC_MPPC_REG_GTYP_POWER_CONTROL_STATUS,
		.enable_mask = SC_MPPC_GTYP_POWER_CONTROL_ENABLE,
	},
	{
		.reg = SC_MPPC_REG_PL_POWER_CONTROL_STATUS,
		.enable_mask = SC_MPPC_PL_POWER_CONTROL_ENABLE,
	},
	{
		.reg = SC_MPPC_REG_SPD_POWER_CONTROL_STATUS,
		.enable_mask = SC_MPPC_SPD_POWER_CONTROL_ENABLE,
	},
	{
		.reg = SC_MPPC_REG_FPD_POWER_CONTROL_STATUS,
		.enable_mask = SC_MPPC_FPD_POWER_CONTROL_ENABLE,
	},
	{
		.reg = SC_MPPC_REG_PMC_LPD_POWER_CONTROL_STATUS,
		.enable_mask = SC_MPPC_PMC_LPD_POWER_CONTROL_ENABLE |
			       SC_MPPC_PMC_MIO_POWER_CONTROL_ENABLE,
	},
};

static void sc_mppc_write(uint32_t reg, uint32_t val)
{
	sys_write32(val, SC_MPPC_REG_BASE + reg);
}

static uint32_t sc_mppc_read(uint32_t reg)
{
	return sys_read32(SC_MPPC_REG_BASE + reg);
}

static void sc_mppc_interrupt_enable(uint32_t enable_mask)
{
	sc_mppc_write(SC_MPPC_REG_INTERRUPT_ENABLE, enable_mask);
}

static void sc_mppc_interrupt_clear(uint32_t clear_mask)
{
	sc_mppc_write(SC_MPPC_REG_INTERRUPT_STATUS, clear_mask);
}

static int sc_mppc_control_enable(uint32_t reg, uint32_t enable_mask)
{
	uint32_t status;
	int i;

	sc_mppc_write(reg, SC_MPPC_WRITE_KEY | enable_mask);
	k_sleep(K_MSEC(100));

	for (i = 0; i < 100; i++) {
		status = sc_mppc_read(reg);
		if ((status & enable_mask) == enable_mask) {
			return 0;
		}

		k_sleep(K_MSEC(10));
	}

	return -ETIMEDOUT;
}

static int sc_mppc_control_disable(uint32_t reg, uint32_t enable_mask)
{
	uint32_t status;
	int i;

	sc_mppc_write(reg, SC_MPPC_WRITE_KEY);
	k_sleep(K_MSEC(100));

	for (i = 0; i < 100; i++) {
		status = sc_mppc_read(reg);
		if ((status & enable_mask) == 0) {
			return 0;
		}

		k_sleep(K_MSEC(10));
	}

	return -ETIMEDOUT;
}

uint32_t sc_mppc_get_power_status(void)
{
	return sc_mppc_read(SC_MPPC_REG_POWER_STATUS);
}

static bool sc_mppc_power_cycle_requested(void)
{
	uint32_t request;

	request = sc_mppc_read(SC_MPPC_REG_POWER_CYCLE_REQUEST);

	return (request & SC_MPPC_POWER_CYCLE_REQUEST_MASK) ==
	       SC_MPPC_POWER_CYCLE_REQUEST_ASSERT;
}

static void sc_mppc_reset_assert(void)
{
	sc_mppc_write(SC_MPPC_REG_MAIN_PROCESSOR_RESET,
		      SC_MPPC_RESET_ASSERT_VALUE);
}

static void sc_mppc_reset_release(void)
{
	sc_mppc_write(SC_MPPC_REG_MAIN_PROCESSOR_RESET,
		      SC_MPPC_RESET_RELEASE_VALUE);
}

int sc_mppc_main_power_on(void)
{
	int ret;
	size_t i;

	for (i = 0; i < ARRAY_SIZE(power_on_sequence); i++) {
		LOG_DBG("Enabling power control reg 0x%02x", power_on_sequence[i].reg);
		ret = sc_mppc_control_enable(power_on_sequence[i].reg,
					       power_on_sequence[i].enable_mask);
		if (ret < 0) {
			LOG_ERR("Failed to enable power control reg 0x%02x: %d",
				power_on_sequence[i].reg, ret);
			return ret;
		}
	}

	k_sleep(K_USEC(10));
	sc_mppc_reset_release();

	return 0;
}

int sc_mppc_main_power_off(void)
{
	int ret;
	size_t i;

	for (i = 0; i < ARRAY_SIZE(power_off_sequence); i++) {
		LOG_DBG("Disabling power control reg 0x%02x", power_off_sequence[i].reg);
		ret = sc_mppc_control_disable(power_off_sequence[i].reg,
						 power_off_sequence[i].enable_mask);
		if (ret < 0) {
			LOG_ERR("Failed to disable power control reg 0x%02x: %d",
				power_off_sequence[i].reg, ret);
			return ret;
		}
	}

	sc_mppc_reset_assert();

	return 0;
}

void sc_mppc_main_power_cycle(void)
{
	LOG_DBG("Performing power cycle");
	sc_mppc_reset_assert();
	k_sleep(SC_MPPC_RESET_ASSERT_DELAY);
	sc_mppc_reset_release();
}

K_THREAD_STACK_DEFINE(sc_mppc_workq_stack, SC_MPPC_WORKQ_STACK_SIZE);

static struct k_work_q sc_mppc_workq;
static struct k_work sc_mppc_power_cycle_work;
static atomic_t sc_mppc_power_cycle_work_pending;

static void sc_mppc_power_cycle_work_handler(struct k_work *work)
{
	ARG_UNUSED(work);

	if (sc_mppc_power_cycle_requested()) {
		LOG_DBG("Power cycle request asserted");
		sc_mppc_main_power_cycle();
	}

	atomic_clear(&sc_mppc_power_cycle_work_pending);
	irq_enable(SC_MPPC_IRQ);
}

static void sc_mppc_submit_power_cycle_work(void)
{
	int ret;

	if (!atomic_cas(&sc_mppc_power_cycle_work_pending, false, true)) {
		return;
	}

	irq_disable(SC_MPPC_IRQ);

	ret = k_work_submit_to_queue(&sc_mppc_workq,
				     &sc_mppc_power_cycle_work);
	if (ret < 0) {
		atomic_clear(&sc_mppc_power_cycle_work_pending);
		irq_enable(SC_MPPC_IRQ);
	}
}

static void sc_mppc_irq_handler(const void *arg)
{
	uint32_t status;

	ARG_UNUSED(arg);

	status = sc_mppc_read(SC_MPPC_REG_INTERRUPT_STATUS);

	if (!(status & SC_MPPC_INTERRUPT_STATUS_POWER_CYCLE_REQUEST)) {
		return;
	}

	sc_mppc_interrupt_clear(SC_MPPC_INTERRUPT_STATUS_POWER_CYCLE_REQUEST);

	sc_mppc_submit_power_cycle_work();
}

static int sc_mppc_init(void)
{
	k_work_queue_start(&sc_mppc_workq, sc_mppc_workq_stack,
			   K_THREAD_STACK_SIZEOF(sc_mppc_workq_stack),
			   SC_MPPC_WORKQ_PRIORITY, NULL);
	k_work_init(&sc_mppc_power_cycle_work, sc_mppc_power_cycle_work_handler);

	atomic_clear(&sc_mppc_power_cycle_work_pending);

	IRQ_CONNECT(SC_MPPC_IRQ, SC_MPPC_IRQ_PRIORITY, sc_mppc_irq_handler,
		    NULL, SC_MPPC_IRQ_FLAGS);

	sc_mppc_interrupt_enable(SC_MPPC_INTERRUPT_ENABLE_USED);
	irq_enable(SC_MPPC_IRQ);

	return 0;
}

SYS_INIT(sc_mppc_init, APPLICATION, CONFIG_APPLICATION_INIT_PRIORITY);
```

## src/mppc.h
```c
/*
 * Copyright (c) 2026 Space Cubics Inc.
 *
 * SPDX-License-Identifier: Apache-2.0
 */

#ifndef SC_MPPC_H_
#define SC_MPPC_H_

#include <stdbool.h>
#include <stdint.h>

uint32_t sc_mppc_get_power_status(void);
int sc_mppc_main_power_on(void);
int sc_mppc_main_power_off(void);
void sc_mppc_main_power_cycle(void);

#endif /* SC_MPPC_H_ */
```

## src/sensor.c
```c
/*
 * Copyright (c) 2026 Space Cubics Inc.
 *
 * SPDX-License-Identifier: Apache-2.0
 */

#include <errno.h>
#include <stdbool.h>
#include <stddef.h>
#include <stdint.h>

#include <zephyr/device.h>
#include <zephyr/devicetree.h>
#include <zephyr/drivers/sensor.h>
#include <zephyr/kernel.h>
#include <zephyr/sys/util.h>

#include "ipc.h"
#include "sensor.h"

#ifndef SENSOR_ATTR_INA3221_SELECTED_CHANNEL
#define SENSOR_ATTR_INA3221_SELECTED_CHANNEL	(SENSOR_ATTR_PRIV_START + 1)
#endif

#define SENSOR_THREAD_STACK_SIZE	2048
#define SENSOR_THREAD_PRIORITY		K_PRIO_PREEMPT(1)
#define SENSOR_FETCH_INTERVAL		K_MSEC(5000)

#define LM75_ENTRY(node_id)			\
	{					\
		.dev = DEVICE_DT_GET(node_id),	\
		.ret = -EAGAIN,			\
		.updated_at_ms = 0,		\
	},

#define INA3221_CHANNEL_ENTRY(node_id, ch)				\
	{								\
		.enabled = DT_PROP_BY_IDX(node_id, enable_channel, ch),	\
		.ret = -EAGAIN,						\
	}

#define INA3221_ENTRY(node_id)					\
	{							\
		.dev = DEVICE_DT_GET(node_id),			\
		.channel = {					\
			INA3221_CHANNEL_ENTRY(node_id, 0),	\
			INA3221_CHANNEL_ENTRY(node_id, 1),	\
			INA3221_CHANNEL_ENTRY(node_id, 2),	\
		},						\
		.ret = -EAGAIN,					\
		.updated_at_ms = 0,				\
	},

static struct sc_lm75_sensor_data lm75_sensors[] = {
	DT_FOREACH_STATUS_OKAY(lm75, LM75_ENTRY)
};

static struct sc_ina3221_sensor_data ina3221_sensors[] = {
	DT_FOREACH_STATUS_OKAY(ti_ina3221, INA3221_ENTRY)
};

static K_MUTEX_DEFINE(sensor_cache_lock);

static int ina3221_select_channel(const struct device *dev, int channel)
{
	struct sensor_value value = {
		.val1 = channel,
		.val2 = 0,
	};

	return sensor_attr_set(dev, SENSOR_CHAN_VOLTAGE,
			       SENSOR_ATTR_INA3221_SELECTED_CHANNEL, &value);
}

static void lm75_reset_result(struct sc_lm75_sensor_data *data)
{
	data->ret = -EAGAIN;
	data->updated_at_ms = 0;
}

static void ina3221_reset_result(struct sc_ina3221_sensor_data *data)
{
	size_t ch;

	data->ret = -EAGAIN;
	data->updated_at_ms = 0;

	for (ch = 0; ch < ARRAY_SIZE(data->channel); ch++) {
		data->channel[ch].ret = -EAGAIN;
	}
}

static int fetch_lm75_sensor(struct sc_lm75_sensor_data *data)
{
	const struct device *dev = data->dev;
	int ret;

	lm75_reset_result(data);

	if (!device_is_ready(dev)) {
		data->ret = -ENODEV;
		return data->ret;
	}

	ret = sensor_sample_fetch(dev);
	if (ret < 0) {
		data->ret = ret;
		return ret;
	}

	ret = sensor_channel_get(dev, SENSOR_CHAN_AMBIENT_TEMP, &data->temp);
	if (ret < 0) {
		data->ret = ret;
		return ret;
	}

	data->ret = 0;
	data->updated_at_ms = k_uptime_get();

	return 0;
}

static int fetch_ina3221_channel(const struct device *dev, size_t ch,
					 struct sc_ina3221_channel_data *data)
{
	int ret;

	if (!data->enabled) {
		return 0;
	}

	ret = ina3221_select_channel(dev, (int)ch + 1);
	if (ret < 0) {
		data->ret = ret;
		return ret;
	}

	ret = sensor_channel_get(dev, SENSOR_CHAN_VOLTAGE, &data->voltage);
	if (ret < 0) {
		data->ret = ret;
		return ret;
	}

	ret = sensor_channel_get(dev, SENSOR_CHAN_CURRENT, &data->current);
	if (ret < 0) {
		data->ret = ret;
		return ret;
	}

	ret = sensor_channel_get(dev, SENSOR_CHAN_POWER, &data->power);
	if (ret < 0) {
		data->ret = ret;
		return ret;
	}

	data->ret = 0;

	return 0;
}

static int fetch_ina3221_sensor(struct sc_ina3221_sensor_data *data)
{
	const struct device *dev = data->dev;
	int first_error = 0;
	int ret;
	size_t ch;

	ina3221_reset_result(data);

	if (!device_is_ready(dev)) {
		data->ret = -ENODEV;
		return data->ret;
	}

	ret = sensor_sample_fetch_chan(dev, SENSOR_CHAN_ALL);
	if (ret < 0) {
		data->ret = ret;
		return ret;
	}

	for (ch = 0; ch < ARRAY_SIZE(data->channel); ch++) {
		ret = fetch_ina3221_channel(dev, ch, &data->channel[ch]);
		if (ret < 0 && first_error == 0) {
			first_error = ret;
		}
	}

	data->ret = first_error;
	data->updated_at_ms = k_uptime_get();

	return first_error;
}

static int fetch_lm75_sensors(void)
{
	struct sc_lm75_sensor_data data;
	int first_error = 0;
	int ret;
	size_t i;

	for (i = 0; i < ARRAY_SIZE(lm75_sensors); i++) {
		k_mutex_lock(&sensor_cache_lock, K_FOREVER);
		data = lm75_sensors[i];
		k_mutex_unlock(&sensor_cache_lock);

		ret = fetch_lm75_sensor(&data);

		k_mutex_lock(&sensor_cache_lock, K_FOREVER);
		lm75_sensors[i] = data;
		k_mutex_unlock(&sensor_cache_lock);

		if (ret < 0 && first_error == 0) {
			first_error = ret;
		}
	}

	return first_error;
}

static int fetch_ina3221_sensors(void)
{
	struct sc_ina3221_sensor_data data;
	int first_error = 0;
	int ret;
	size_t i;

	for (i = 0; i < ARRAY_SIZE(ina3221_sensors); i++) {
		k_mutex_lock(&sensor_cache_lock, K_FOREVER);
		data = ina3221_sensors[i];
		k_mutex_unlock(&sensor_cache_lock);

		ret = fetch_ina3221_sensor(&data);

		k_mutex_lock(&sensor_cache_lock, K_FOREVER);
		ina3221_sensors[i] = data;
		k_mutex_unlock(&sensor_cache_lock);

		if (ret < 0 && first_error == 0) {
			first_error = ret;
		}
	}

	return first_error;
}

static int fetch_all_sensors(void)
{
	int first_error = 0;
	int ret;

	ret = fetch_lm75_sensors();
	if (ret < 0 && first_error == 0) {
		first_error = ret;
	}

	ret = fetch_ina3221_sensors();
	if (ret < 0 && first_error == 0) {
		first_error = ret;
	}

	return first_error;
}

static void sensor_update_thread(void *p1, void *p2, void *p3)
{
	ARG_UNUSED(p1);
	ARG_UNUSED(p2);
	ARG_UNUSED(p3);

	while (true) {
		(void)fetch_all_sensors();
		sc_ipc_update_response_cache();
		k_sleep(SENSOR_FETCH_INTERVAL);
	}
}

K_THREAD_DEFINE(sensor_thread_id, SENSOR_THREAD_STACK_SIZE,
		sensor_update_thread, NULL, NULL, NULL,
		SENSOR_THREAD_PRIORITY, 0, 0);

size_t sc_lm75_get_sensor_count(void)
{
	return ARRAY_SIZE(lm75_sensors);
}

size_t sc_ina3221_get_sensor_count(void)
{
	return ARRAY_SIZE(ina3221_sensors);
}

int sc_lm75_get_sensor(size_t index, struct sc_lm75_sensor_data *data)
{
	if (data == NULL) {
		return -EINVAL;
	}

	if (index >= ARRAY_SIZE(lm75_sensors)) {
		return -ENOENT;
	}

	k_mutex_lock(&sensor_cache_lock, K_FOREVER);
	*data = lm75_sensors[index];
	k_mutex_unlock(&sensor_cache_lock);

	return 0;
}

int sc_ina3221_get_sensor(size_t index, struct sc_ina3221_sensor_data *data)
{
	if (data == NULL) {
		return -EINVAL;
	}

	if (index >= ARRAY_SIZE(ina3221_sensors)) {
		return -ENOENT;
	}

	k_mutex_lock(&sensor_cache_lock, K_FOREVER);
	*data = ina3221_sensors[index];
	k_mutex_unlock(&sensor_cache_lock);

	return 0;
}
```

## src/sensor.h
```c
/*
 * Copyright (c) 2026 Space Cubics Inc.
 *
 * SPDX-License-Identifier: Apache-2.0
 */

#ifndef SC_SENSOR_H_
#define SC_SENSOR_H_

#include <stdbool.h>
#include <stddef.h>
#include <stdint.h>

#include <zephyr/device.h>
#include <zephyr/drivers/sensor.h>

struct sc_lm75_sensor_data {
	const struct device *dev;
	struct sensor_value temp;
	int ret;
	int64_t updated_at_ms;
};

struct sc_ina3221_channel_data {
	bool enabled;
	struct sensor_value voltage;
	struct sensor_value current;
	struct sensor_value power;
	int ret;
};

struct sc_ina3221_sensor_data {
	const struct device *dev;
	struct sc_ina3221_channel_data channel[3];
	int ret;
	int64_t updated_at_ms;
};

size_t sc_lm75_get_sensor_count(void);
size_t sc_ina3221_get_sensor_count(void);

int sc_lm75_get_sensor(size_t index, struct sc_lm75_sensor_data *data);
int sc_ina3221_get_sensor(size_t index, struct sc_ina3221_sensor_data *data);

#endif /* SC_SENSOR_H_ */
```

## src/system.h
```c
/*
 * Copyright (c) 2026 Space Cubics Inc.
 *
 * SPDX-License-Identifier: Apache-2.0
 */

#ifndef SC_SYSTEM_H_
#define SC_SYSTEM_H_

#include <stdbool.h>
#include <stddef.h>
#include <stdint.h>

int sc_system_get_ip_version(char *version, size_t version_size);
int sc_system_get_board_grade(char *grade, size_t grade_size);
int sc_system_get_board_revision(char *revision, size_t revision_size);
void sc_system_set_led_red(bool on);
void sc_system_set_led_green(bool on);
bool sc_system_get_led_red(void);
bool sc_system_get_led_green(void);
void sc_system_update_keep_alive(void);
int sc_system_set_boot_memory_port(uint32_t port);
uint32_t sc_system_get_boot_memory_port(void);

#endif /* SC_SYSTEM_H_ */
```

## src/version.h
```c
/*
 * Copyright (c) 2026 Space Cubics Inc.
 *
 * SPDX-License-Identifier: Apache-2.0
 */

#ifndef SC_VERSION_H_
#define SC_VERSION_H_

#define SCOBC_SP_FW_VERSION "v2026.06"

#endif /* SC_VERSION_H_ */
```
